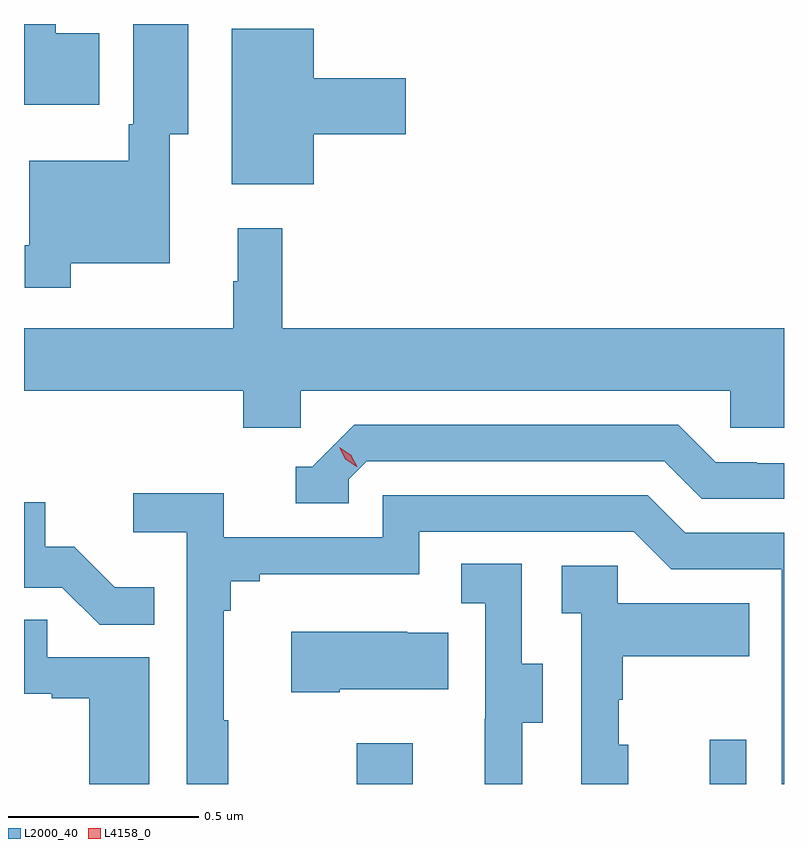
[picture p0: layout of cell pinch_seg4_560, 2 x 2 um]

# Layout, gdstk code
import gdstk
lib = gdstk.Library(unit=1e-6, precision=1e-09)
def R(c, l, rs):  # rectangles x0, y0, x1, y1
    for r in rs: c.add(gdstk.rectangle(r[:2], r[2:], *l))
def P(c, l, *ps):  # polygons
    for p in ps: c.add(gdstk.Polygon(p, *l))
L2000_40 = (2000, 40)
L4158_0 = (4158, 0)

pinch_seg4_560 = lib.new_cell('pinch_seg4_560')
R(pinch_seg4_560, L2000_40, [(1114.654,777.137,1114.801,777.244), (1115.582,777.137,1115.679,777.253)])
P(pinch_seg4_560, L2000_40, [(1113.901,778.508),(1114.161,778.508),(1114.161,778.847),(1114.21,778.847),(1114.21,779.137),(1114.065,779.137),(1114.065,778.873),(1114.053,778.873),(1114.053,778.777),(1113.792,778.777),(1113.792,778.555),(1113.78,778.555),(1113.78,778.443),(1113.901,778.443)],
  [(1113.976,779.113),(1113.862,779.113),(1113.862,779.137),(1113.778,779.137),(1113.778,778.925),(1113.976,778.925)],
  [(1114.54,778.847),(1114.783,778.847),(1114.783,778.994),(1114.54,778.994),(1114.54,779.125),(1114.325,779.125),(1114.325,778.715),(1114.54,778.715)],
  [(1114.355,778.074),(1114.506,778.074),(1114.506,778.172),(1115.637,778.172),(1115.637,778.074),(1115.778,778.074),(1115.778,778.336),(1114.457,778.336),(1114.457,778.6),(1114.34,778.6),(1114.34,778.46),(1114.329,778.46),(1114.329,778.336),(1113.778,778.336),(1113.778,778.172),(1114.355,778.172)],
  [(1114.632,777.939),(1114.68,777.987),(1115.463,777.987),(1115.562,777.888),(1115.778,777.888),(1115.778,777.981),(1115.706,777.981),(1115.706,777.984),(1115.599,777.984),(1115.5,778.083),(1114.647,778.083),(1114.536,777.972),(1114.493,777.972),(1114.493,777.876),(1114.632,777.876)],
  [(1114.315,777.305),(1114.303,777.305),(1114.303,777.593),(1114.322,777.593),(1114.322,777.67),(1114.399,777.67),(1114.399,777.689),(1114.818,777.689),(1114.818,777.801),(1115.382,777.801),(1115.481,777.702),(1115.772,777.702),(1115.772,777.137),(1115.778,777.137),(1115.778,777.798),(1115.518,777.798),(1115.419,777.897),(1114.722,777.897),(1114.722,777.786),(1114.304,777.786),(1114.304,777.902),(1114.065,777.902),(1114.065,777.8),(1114.206,777.8),(1114.206,777.137),(1114.315,777.137)],
  [(1114.121,777.655),(1114.017,777.655),(1113.91,777.762),(1113.834,777.762),(1113.834,777.879),(1113.778,777.879),(1113.778,777.654),(1113.879,777.654),(1113.977,777.556),(1114.121,777.556)],
  [(1115.089,777.298),(1115.143,777.298),(1115.143,777.453),(1115.088,777.453),(1115.088,777.716),(1114.929,777.716),(1114.929,777.613),(1114.992,777.613),(1114.992,777.309),(1114.991,777.309),(1114.991,777.137),(1115.089,777.137)],
  [(1115.368,777.24),(1115.343,777.24),(1115.343,777.359),(1115.353,777.359),(1115.353,777.473),(1115.687,777.473),(1115.687,777.613),(1115.34,777.613),(1115.34,777.711),(1115.193,777.711),(1115.193,777.587),(1115.244,777.587),(1115.244,777.137),(1115.368,777.137)],
  [(1114.108,777.471),(1113.839,777.471),(1113.839,777.569),(1113.778,777.569),(1113.778,777.375),(1113.851,777.375),(1113.851,777.363),(1113.95,777.363),(1113.95,777.137),(1114.108,777.137)],
  [(1114.609,777.386),(1114.895,777.386),(1114.895,777.535),(1114.787,777.535),(1114.787,777.538),(1114.481,777.538),(1114.481,777.379),(1114.609,777.379)])
P(pinch_seg4_560, L4158_0, [(1114.654,777.972),(1114.624,777.991),(1114.607,778.023),(1114.607,778.023),(1114.607,778.023),(1114.638,778.004),(1114.655,777.972),(1114.655,777.972)])

lib.write_gds('pinch_seg4_560.gds')
